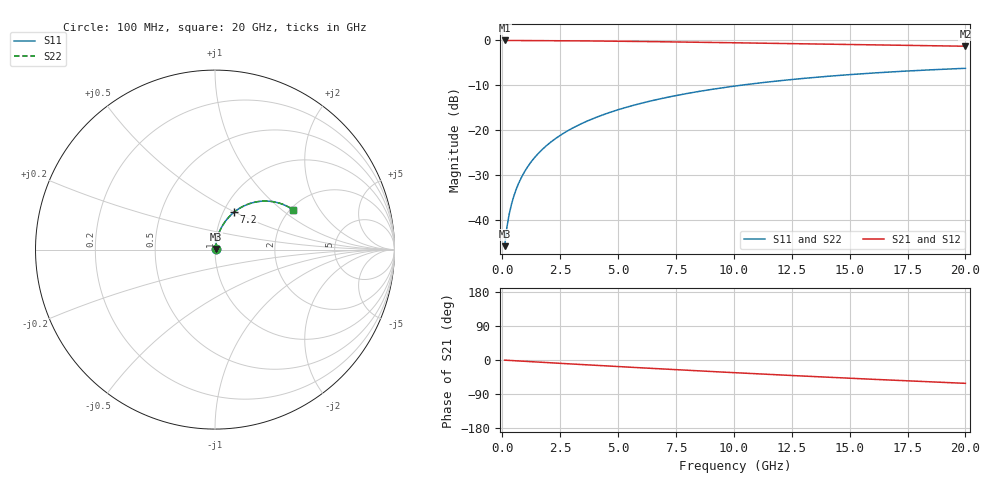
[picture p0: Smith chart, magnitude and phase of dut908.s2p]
! Touchstone file exported from HFSS 2026.1.0
!  File:  C:/ffzhzh/LocalFiles/Ansys_Project_Files/temp_train_TMRDL_908_1783157954_18472.aedt
!  Generated:  05:40:35 PM Jul  4, 2026
!  Design:  TMRDL
!  Project:  temp_train_TMRDL_908_1783157954_18472
! Variables:
!  h_bsmrdl = 2um
!  h_ox = 20um
!  h_rdl = 5um
!  h_sub = 80um
!  h_tmrdl = 4.95um
!  h_tsv = 80um
!  h_via = 3um
!  l_bsmrdl = 300um
!  l_sub = 1383.9um
!  l_tmrdl = 983.9um
!  m_sub = 200um
!  pitch = 50.66um
!  r_tsv = 6um
!  s_tmrdl = 10um
!  w_bsmrdl = 18um
!  w_sub = 500um
!  w_tmrdl = 21.91um
!  x_tsv_center1 = 994.855um
!  x_tsv_center2 = 1312.855um
!  x_tsv_center3 = 2318.665um
!  x_tsv_center4 = 2636.665um
!  x_tsv_center5 = 3642.475um
!  x_tsv_center6 = 3960.475um
# GHz S MA R 50.000000
! Terminal data exported
! Port[1] = TM_RDL1_1_T1
! Port[2] = TM_RDL1_1_T2
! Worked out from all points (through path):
!   200 points, 100 MHz to 20 GHz, reference 50 ohm
!   highest |S21| = -0.03 dB at 100 MHz (marker M1); lowest = -1.3 dB at 20 GHz (marker M2)
!   group delay of S21, straight-line fit = 8.54 ps
!   lowest |S11| = -45.8 dB at 100 MHz (marker M3), VSWR 1.01, Z = 50.3 + j0.386 ohm
!   |S11| at or under -10 dB: start of sweep to 10.3 GHz
!   |S22| runs from -45.8 to -6.2 dB; largest |S21 - S12| = 2.1e-14
!   S11 on the Smith chart (normalised r, x): 100 MHz: 1.01, +0.01; 7.2 GHz: 1.12, +0.50; 20 GHz: 2.07, +1.20
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0.1  0.00513 48.3  0.9966 -0.4  0.9966 -0.4  0.005129 48.3
! Gamma 0 0 0 0
! Port Impedance 50 0 50 0
0.2  0.008356 63.6  0.9964 -0.7  0.9964 -0.7  0.008356 63.6
0.3  0.01173 70.0  0.9961 -1.1  0.9961 -1.1  0.01173 70.0
0.4  0.01513 73.4  0.996 -1.4  0.996 -1.4  0.01513 73.4
0.5  0.01855 75.6  0.9958 -1.8  0.9958 -1.8  0.01855 75.6
0.7  0.02545 78.0  0.9955 -2.5  0.9955 -2.5  0.02545 78.0
1  0.03588 79.4  0.995 -3.6  0.995 -3.6  0.03588 79.4
1.2  0.04285 79.6  0.9946 -4.3  0.9946 -4.3  0.04285 79.7
1.4  0.0498 79.6  0.9941 -5.0  0.9941 -5.0  0.0498 79.6
1.7  0.0602 79.3  0.9932 -6.0  0.9932 -6.0  0.0602 79.3
2  0.07054 78.7  0.9923 -7.1  0.9923 -7.1  0.07054 78.7
2.7  0.09435 76.9  0.9896 -9.5  0.9896 -9.5  0.09435 76.9
3.5  0.1209 74.5  0.9858 -12.3  0.9858 -12.3  0.1209 74.5
4.2  0.1436 72.3  0.982 -14.6  0.982 -14.6  0.1436 72.3
5  0.1689 69.8  0.9772 -17.3  0.9772 -17.3  0.1689 69.8
6.8  0.2229 64.2  0.9648 -23.3  0.9648 -23.3  0.2229 64.2
7.2  0.2344 62.9  0.9619 -24.5  0.9619 -24.5  0.2344 63.0
8.6  0.2729 58.7  0.9509 -29.0  0.9509 -29.0  0.2729 58.7
10.1  0.3113 54.1  0.9385 -33.7  0.9385 -33.7  0.3113 54.2
13.4  0.385 44.6  0.9102 -43.5  0.9102 -43.5  0.385 44.6
16.7  0.4437 35.5  0.8831 -52.8  0.8831 -52.8  0.4437 35.6
20  0.4882 27.0  0.8596 -61.6  0.8596 -61.6  0.4882 27.0
